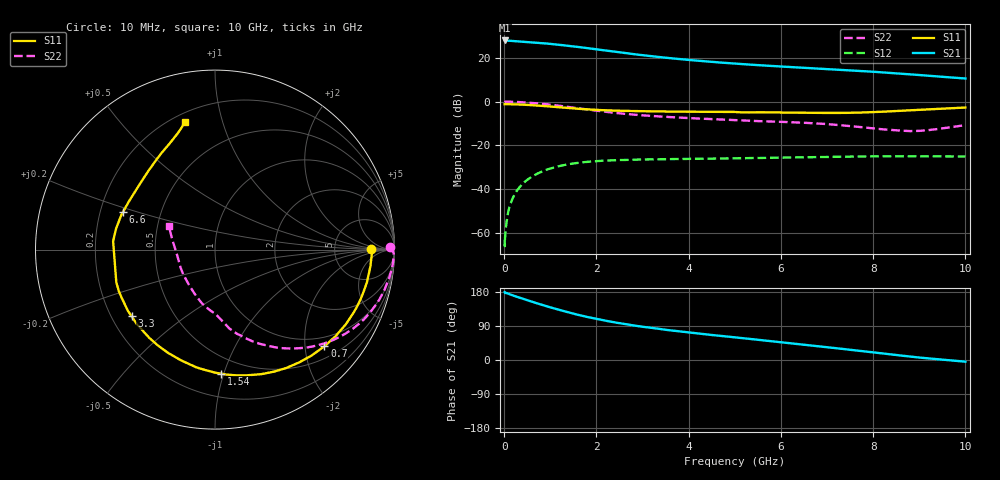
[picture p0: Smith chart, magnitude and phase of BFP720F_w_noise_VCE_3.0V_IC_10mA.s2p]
! Infineon Technologies  Discrete & RF Semiconductors
! BFP720F
! VCE =  3.0 V,  IC =  10 mA
! Common Emitter S-Parameters:  Jan 2016
# GHz  S  MA  R  50
!  f  S11  S21  S12  S22
! GHz  MAG  ANG  MAG  ANG  MAG  ANG  MAG  ANG
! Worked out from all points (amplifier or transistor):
!   233 points, 10 MHz to 10 GHz, reference 50 ohm
!   highest |S21| = 27.9 dB at 10 MHz (marker M1)
!   |S21| within 3 dB of that: start of sweep to 1.617 GHz
!   unconditionally stable (mu >= 1): start of sweep to 13.88 MHz; 6.755 GHz to end of sweep
!   at 200 MHz: K = 0.06, MSG = 35.5 dB, |S12| = -43.5 dB
!   at 1.74 GHz: K = 0.30, MSG = 26.1 dB, |S12| = -27.7 dB
!   at 10 GHz: K = 1.27, MAG = 14.7 dB, |S12| = -25.1 dB
!   lowest NFmin = 0.55 dB at 450 MHz
!   S11 on the Smith chart (normalised r, x): 10 MHz: 14, +0; 700 MHz: 0.76, -2.43; 1.54 GHz: 0.37, -0.98; 3.3 GHz: 0.28, -0.33; 6.6 GHz: 0.30, +0.18; 10 GHz: 0.25, +0.76
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0.01  0.8693 0.2  24.79 179.0  0.0007 -7.7  0.9766 0.9
0.02  0.8749 -1.0  24.49 177.0  0.0008 82.9  0.9964 -1.2
0.05  0.8722 -3.1  24.64 176.8  0.0017 91.9  0.9951 -1.8
0.26  0.8607 -15.7  23.8 167.3  0.0087 81.1  0.9826 -9.6
0.46  0.8424 -27.5  22.97 159.3  0.0151 74.3  0.9571 -16.9
0.7  0.8134 -41.5  22.03 150.1  0.0221 66.5  0.9158 -25.2
0.84  0.7922 -49.8  21.52 144.8  0.0258 62.1  0.8859 -29.8
1.02  0.7668 -59.8  20.61 138.3  0.0301 56.8  0.844 -35.5
1.26  0.7307 -72.8  19.37 130.1  0.0348 50.3  0.7854 -42.6
1.54  0.6924 -87.1  17.92 121.2  0.0391 43.6  0.7177 -50.0
1.68  0.6754 -93.8  17.2 117.0  0.0408 40.6  0.6851 -53.5
2.02  0.6433 -107.9  15.44 107.9  0.0438 34.3  0.6153 -60.8
2.4  0.6214 -121.0  13.66 99.2  0.0459 28.5  0.5528 -67.7
2.8  0.6052 -131.7  12.09 91.2  0.047 24.3  0.5026 -73.0
3.3  0.5951 -141.4  10.55 83.2  0.0481 20.3  0.4621 -77.8
3.4  0.5939 -143.1  10.27 81.5  0.0482 19.6  0.4547 -78.7
4  0.5863 -151.5  8.902 72.6  0.0491 16.4  0.4189 -82.3
5.1  0.5698 -166.3  7.228 58.5  0.0508 12.6  0.3731 -87.5
6.6  0.554 158.0  5.813 39.1  0.0538 8.2  0.3239 -99.1
6.8  0.5507 154.4  5.652 36.5  0.0541 7.6  0.3148 -101.5
8.4  0.6007 122.4  4.489 14.5  0.0564 2.0  0.2244 -142.0
10  0.7298 103.3  3.355 -4.5  0.0558 -1.6  0.2906 152.6
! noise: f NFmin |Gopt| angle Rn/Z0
0.45  0.55  0.3  3  0.33
0.9  0.58  0.27  8  0.12
1.8  0.62  0.25  13  0.15
2.4  0.65  0.22  23  0.14
5.5  0.8  0.2  43  0.09
10  1  0.28  -91  0.17
